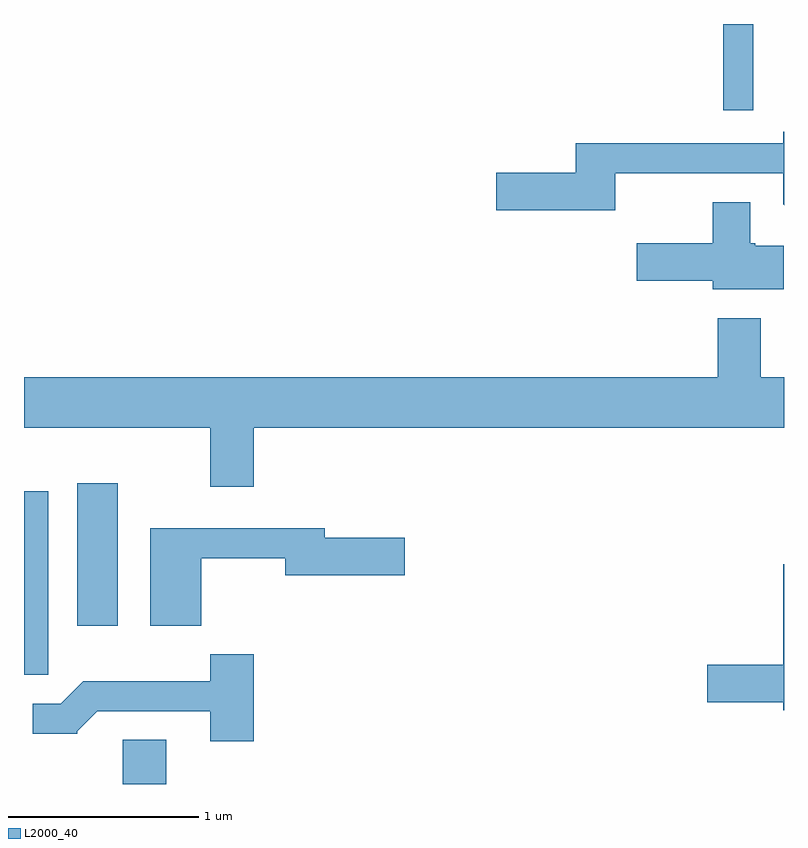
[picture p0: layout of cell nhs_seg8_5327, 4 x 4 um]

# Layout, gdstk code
import gdstk
lib = gdstk.Library(unit=1e-6, precision=1e-09)
def R(c, l, rs):  # rectangles x0, y0, x1, y1
    for r in rs: c.add(gdstk.rectangle(r[:2], r[2:], *l))
def P(c, l, *ps):  # polygons
    for p in ps: c.add(gdstk.Polygon(p, *l))
L2000_40 = (2000, 40)

nhs_seg8_5327 = lib.new_cell('nhs_seg8_5327')
R(nhs_seg8_5327, L2000_40, [(346.131,1812.342,346.359,1812.574), (345.611,1812.916,345.739,1813.884), (345.891,1813.176,346.104,1813.924), (349.291,1815.888,349.449,1816.342)])
P(nhs_seg8_5327, L2000_40, [(348.724,1815.556),(349.606,1815.556),(349.606,1815.394),(349.611,1815.389),(349.611,1815.774),(349.606,1815.774),(349.606,1815.714),(348.516,1815.714),(348.516,1815.559),(348.096,1815.559),(348.096,1815.361),(348.724,1815.361)],
  [(349.609,1815.174),(349.46,1815.174),(349.46,1815.189),(349.434,1815.189),(349.434,1815.404),(349.236,1815.404),(349.236,1815.189),(348.836,1815.189),(348.836,1814.991),(349.236,1814.991),(349.236,1814.946),(349.609,1814.946)],
  [(345.611,1814.216),(346.591,1814.216),(346.591,1813.906),(346.819,1813.906),(346.819,1814.216),(349.611,1814.216),(349.611,1814.484),(349.489,1814.484),(349.489,1814.794),(349.261,1814.794),(349.261,1814.484),(345.611,1814.484)],
  [(346.544,1813.531),(346.986,1813.531),(346.986,1813.441),(347.614,1813.441),(347.614,1813.639),(347.194,1813.639),(347.194,1813.689),(346.276,1813.689),(346.276,1813.176),(346.544,1813.176)],
  [(349.611,1813.499),(349.606,1813.499),(349.606,1812.969),(349.206,1812.969),(349.206,1812.771),(349.606,1812.771),(349.606,1812.731),(349.611,1812.731)],
  [(346.819,1813.024),(346.591,1813.024),(346.591,1812.884),(345.924,1812.884),(345.804,1812.764),(345.658,1812.764),(345.658,1812.606),(345.89,1812.606),(345.89,1812.62),(345.997,1812.726),(346.591,1812.726),(346.591,1812.566),(346.819,1812.566)])

lib.write_gds('nhs_seg8_5327.gds')
